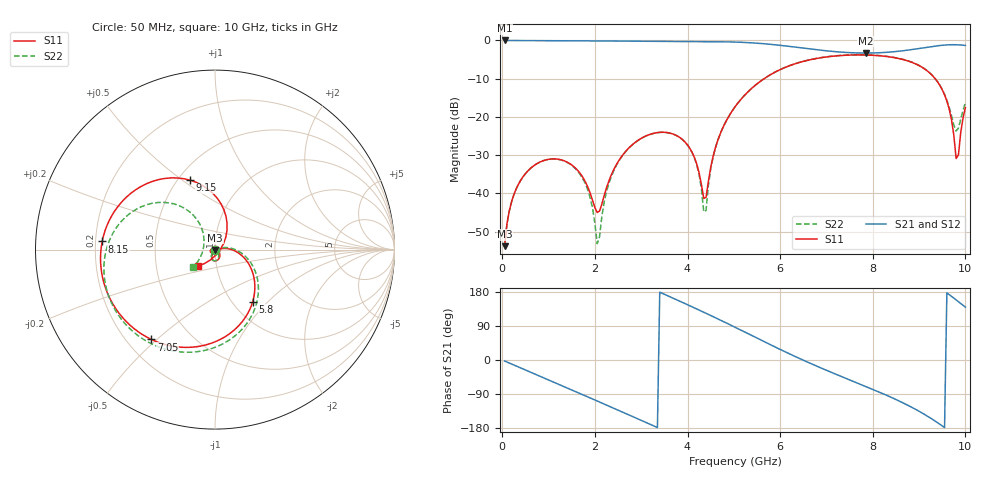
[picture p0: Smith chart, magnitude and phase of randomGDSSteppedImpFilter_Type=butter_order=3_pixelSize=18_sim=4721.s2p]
! freq	dB(S11)	phase(S11)	dB(S12)	phase(S12)
!  dB(S21)	phase(S21)	dB(S22)	phase(S22)
!S-par simulation data
#  GHz  S  DB  R 50
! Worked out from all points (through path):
!   200 points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, 50 MHz to 10 GHz, reference 50 ohm
!   highest |S21| = 0.00 dB at 50 MHz (marker M1); lowest = -3.3 dB at 7.85 GHz (marker M2)
!   group delay of S21, straight-line fit = 156 ps
!   lowest |S11| = -53.8 dB at 50 MHz (marker M3), VSWR 1.00, Z = 50 - j0.2 ohm
!   |S11| at or under -10 dB: start of sweep to 5.655 GHz; 9.346 GHz to end of sweep
!   |S22| runs from -53.7 to -3.7 dB; largest |S21 - S12| = 0
!   S11 on the Smith chart (normalised r, x): 50 MHz: 1.00, -0.00; 5.8 GHz: 1.23, -0.82; 7.05 GHz: 0.30, -0.48; 8.15 GHz: 0.23, +0.03; 9.15 GHz: 0.57, +0.53; 10 GHz: 0.81, -0.15
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0.05  -53.83 -79.9  -0.00 -2.7  -0.00 -2.7  -53.69 -80.0
0.25  -40.35 -101.7  -0.03 -13.2  -0.03 -13.2  -40.38 -100.7
0.65  -33.06 -126.4  -0.05 -34.3  -0.05 -34.3  -33.06 -123.2
1.75  -36.04 160.0  -0.11 -92.3  -0.11 -92.3  -36.43 -176.3
2.05  -45.03 81.8  -0.13 -108.2  -0.13 -108.2  -53.17 -132.3
2.5  -31.74 -28.7  -0.16 -132.3  -0.16 -132.3  -31.91 -47.0
3.4  -24.05 -85.4  -0.24 179.0  -0.24 179.0  -24.06 -90.9
4.05  -28.23 -116.8  -0.28 143.1  -0.28 143.1  -28.30 -121.9
4.25  -34.66 -114.6  -0.29 131.8  -0.29 131.8  -35.14 -124.4
4.35  -41.33 -78.6  -0.30 126.1  -0.30 126.1  -44.84 -92.4
4.6  -28.14 8.2  -0.32 111.7  -0.32 111.7  -28.28 14.6
5.05  -16.97 -10.2  -0.43 85.0  -0.43 85.0  -16.97 -6.1
5.8  -8.90 -54.2  -1.02 39.8  -1.02 39.8  -8.88 -48.7
6.7  -4.92 -106.3  -2.31 -11.4  -2.31 -11.4  -4.88 -97.6
7.05  -4.24 -125.3  -2.78 -29.7  -2.78 -29.7  -4.20 -115.1
7.85  -3.81 -167.7  -3.30 -69.9  -3.30 -69.9  -3.76 -152.7
8.15  -4.01 175.9  -3.22 -85.2  -3.22 -85.2  -3.95 -166.8
8.35  -4.28 164.4  -3.07 -95.9  -3.07 -95.9  -4.23 -176.4
9.15  -7.72 109.7  -1.82 -145.9  -1.82 -145.9  -7.68 140.6
9.6  -15.87 65.3  -1.17 177.2  -1.17 177.2  -15.60 120.8
9.8  -30.90 -3.0  -1.12 158.6  -1.12 158.6  -23.72 164.4
10  -17.57 -135.9  -1.31 139.5  -1.31 139.5  -16.25 -141.2
